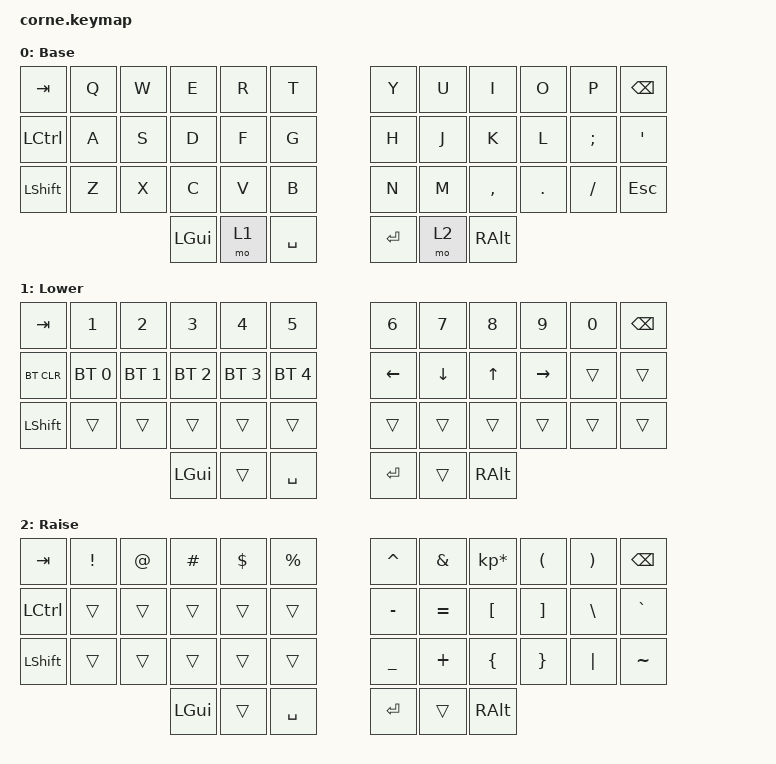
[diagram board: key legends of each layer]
/*
 * Copyright (c) 2020 The ZMK Contributors
 *
 * SPDX-License-Identifier: MIT
 */

#include <behaviors.dtsi>
#include <dt-bindings/zmk/bt.h>
#include <dt-bindings/zmk/keys.h>

/ {
    combos {
        compatible = "zmk,combos";

        n1 {
            bindings = <&kp NUMBER_1>;
            key-positions = <1 13>;
            layers = <0>;
        };

        n2 {
            bindings = <&kp NUMBER_2>;
            key-positions = <2 14>;
            layers = <0>;
        };

        n3 {
            bindings = <&kp NUMBER_3>;
            key-positions = <3 15>;
            layers = <0>;
        };

        n4 {
            bindings = <&kp NUMBER_4>;
            key-positions = <4 16>;
            layers = <0>;
        };

        n5 {
            bindings = <&kp NUMBER_5>;
            key-positions = <5 17>;
            layers = <0>;
        };

        n6 {
            bindings = <&kp NUMBER_6>;
            key-positions = <18 6>;
            layers = <0>;
        };

        n7 {
            bindings = <&kp NUMBER_7>;
            key-positions = <7 19>;
            layers = <0>;
        };

        n8 {
            bindings = <&kp NUMBER_8>;
            key-positions = <8 20>;
            layers = <0>;
        };

        n9 {
            bindings = <&kp NUMBER_9>;
            key-positions = <21 9>;
            layers = <0>;
        };

        n0 {
            bindings = <&kp NUMBER_0>;
            key-positions = <10 22>;
            layers = <0>;
        };
    };

    keymap {
        compatible = "zmk,keymap";

        default_layer {
            // -----------------------------------------------------------------------------------------
            // |  TAB |  Q  |  W  |  E  |  R  |  T  |   |  Y  |  U   |  I  |  O  |  P  | BKSP |
            // | CTRL |  A  |  S  |  D  |  F  |  G  |   |  H  |  J   |  K  |  L  |  ;  |  '   |
            // | SHFT |  Z  |  X  |  C  |  V  |  B  |   |  N  |  M   |  ,  |  .  |  /  | ESC  |
            //                    | GUI | LWR | SPC |   | ENT | RSE  | ALT |

            display-name = "Base";
            bindings = <
&kp TAB    &kp Q  &kp W  &kp E     &kp R  &kp T        &kp Y    &kp U  &kp I      &kp O    &kp P     &kp BSPC
&kp LCTRL  &kp A  &kp S  &kp D     &kp F  &kp G        &kp H    &kp J  &kp K      &kp L    &kp SEMI  &kp SQT
&kp LSHFT  &kp Z  &kp X  &kp C     &kp V  &kp B        &kp N    &kp M  &kp COMMA  &kp DOT  &kp FSLH  &kp ESC
                         &kp LGUI  &mo 1  &kp SPACE    &kp RET  &mo 2  &kp RALT
            >;
        };

        lower_layer {
            // -----------------------------------------------------------------------------------------
            // |  TAB |  1  |  2  |  3  |  4  |  5  |   |  6  |  7  |  8  |  9  |  0  | BKSP |
            // | BTCLR| BT1 | BT2 | BT3 | BT4 | BT5 |   | LFT | DWN |  UP | RGT |     |      |
            // | SHFT |     |     |     |     |     |   |     |     |     |     |     |      |
            //                    | GUI |     | SPC |   | ENT |     | ALT |

            display-name = "Lower";
            bindings = <
&kp TAB     &kp N1        &kp N2        &kp N3        &kp N4        &kp N5          &kp N6    &kp N7    &kp N8    &kp N9     &kp N0  &kp BSPC
&bt BT_CLR  &bt BT_SEL 0  &bt BT_SEL 1  &bt BT_SEL 2  &bt BT_SEL 3  &bt BT_SEL 4    &kp LEFT  &kp DOWN  &kp UP    &kp RIGHT  &trans  &trans
&kp LSHFT   &trans        &trans        &trans        &trans        &trans          &trans    &trans    &trans    &trans     &trans  &trans
                                        &kp LGUI      &trans        &kp SPACE       &kp RET   &trans    &kp RALT
            >;
        };

        raise_layer {
            // -----------------------------------------------------------------------------------------
            // |  TAB |  !  |  @  |  #  |  $  |  %  |   |  ^  |  &  |  *  |  (  |  )  | BKSP |
            // | CTRL |     |     |     |     |     |   |  -  |  =  |  [  |  ]  |  \  |  `   |
            // | SHFT |     |     |     |     |     |   |  _  |  +  |  {  |  }  | "|" |  ~   |
            //                    | GUI |     | SPC |   | ENT |     | ALT |

            display-name = "Raise";
            bindings = <
&kp TAB    &kp EXCL  &kp AT  &kp HASH  &kp DLLR  &kp PRCNT    &kp CARET  &kp AMPS   &kp KP_MULTIPLY  &kp LPAR  &kp RPAR  &kp BSPC
&kp LCTRL  &trans    &trans  &trans    &trans    &trans       &kp MINUS  &kp EQUAL  &kp LBKT         &kp RBKT  &kp BSLH  &kp GRAVE
&kp LSHFT  &trans    &trans  &trans    &trans    &trans       &kp UNDER  &kp PLUS   &kp LBRC         &kp RBRC  &kp PIPE  &kp TILDE
                             &kp LGUI  &trans    &kp SPACE    &kp RET    &trans     &kp RALT
            >;
        };

        extra_1 { status = "reserved"; };

        extra_2 { status = "reserved"; };

        extra_3 { status = "reserved"; };
    };
};
